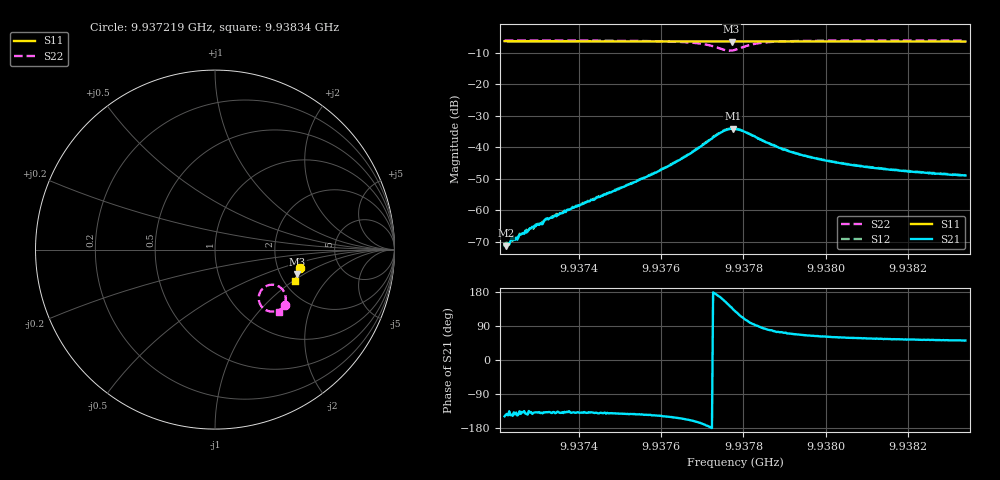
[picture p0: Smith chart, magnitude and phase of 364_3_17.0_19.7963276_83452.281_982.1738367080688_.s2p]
#  HZ  S  RI  R  50.00
! Rohde & Schwarz Vector Network Analyzer
! Rohde-Schwarz,ZNB20-2Port,1311601062101988,3.16
! Created: UTC 3/20/2024, 11:08:22 PM
! freq[Hz]  re:S11  im:S11  re:S21  im:S21  re:S12  im:S12  re:S22  im:S22
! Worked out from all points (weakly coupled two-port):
!   401 points, 9.937219 GHz to 9.93834 GHz, reference 50 ohm
!   highest |S21| = -34.08 dB at 9.937774 GHz (marker M1); lowest = -71.3 dB at 9.937222 GHz (marker M2)
!   lowest |S11| = -6.4 dB at 9.937771 GHz (marker M3), VSWR 2.84, Z = 124 - j44.2 ohm
!   |S11| at or under -10 dB: nowhere
!   |S22| runs from -9.3 to -6.0 dB; largest |S21 - S12| = 0.00088
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9.9372194e9  0.4729 -0.1028  -0.000235 -0.000143  -0.000213 -0.000164  0.3891 -0.3113
9.9372222e9  0.4727 -0.1031  -0.000221 -0.000158  -0.000249 -0.000169  0.389 -0.3118
9.9372418e9  0.4723 -0.1044  -0.000267 -0.000238  -0.000296 -0.000214  0.3875 -0.313
9.9372502e9  0.4722 -0.1049  -0.000283 -0.000188  -0.0003 -0.00022  0.3871 -0.3134
9.9372866e9  0.4714 -0.1074  -0.000432 -0.000333  -0.000414 -0.000339  0.3845 -0.316
9.9373062e9  0.4712 -0.1087  -0.000478 -0.000399  -0.000501 -0.000422  0.383 -0.3173
9.937323e9  0.4708 -0.1098  -0.000552 -0.0005  -0.000567 -0.000466  0.3818 -0.3187
9.937407e9  0.469 -0.1153  -0.000933 -0.000818  -0.000987 -0.000809  0.3741 -0.3251
9.9375946e9  0.4647 -0.1282  -0.0035 -0.0023  -0.00359 -0.00228  0.3427 -0.3422
9.9376562e9  0.4629 -0.1322  -0.00636 -0.00289  -0.00652 -0.00282  0.3166 -0.3457
9.9377067e9  0.4613 -0.1355  -0.0114 -0.0018  -0.0116 -0.00162  0.2759 -0.3326
9.9377487e9  0.4594 -0.1374  -0.0166 0.00585  -0.0169 0.00629  0.2434 -0.2662
9.9377711e9  0.4589 -0.138  -0.0147 0.013  -0.0144 0.0138  0.2703 -0.2132
9.9377739e9  0.4589 -0.1381  -0.014 0.014  -0.0138 0.0146  0.2766 -0.2085
9.9377795e9  0.4589 -0.1382  -0.0122 0.0151  -0.0122 0.0157  0.2901 -0.201
9.9377991e9  0.4591 -0.1393  -0.00654 0.0168  -0.00615 0.0171  0.338 -0.198
9.9378383e9  0.4592 -0.1419  0.000569 0.0136  0.000829 0.0136  0.3856 -0.2365
9.9378915e9  0.4584 -0.1459  0.00273 0.0093  0.00298 0.00915  0.394 -0.2763
9.9379671e9  0.4566 -0.1512  0.00301 0.00615  0.00319 0.00616  0.3878 -0.3031
9.9380651e9  0.4539 -0.1575  0.00273 0.00442  0.00285 0.00444  0.3783 -0.3207
9.9381547e9  0.4515 -0.1634  0.00251 0.00364  0.00262 0.00365  0.3708 -0.3304
9.9383396e9  0.4463 -0.1752  0.00222 0.00277  0.00228 0.00276  0.3576 -0.3452
